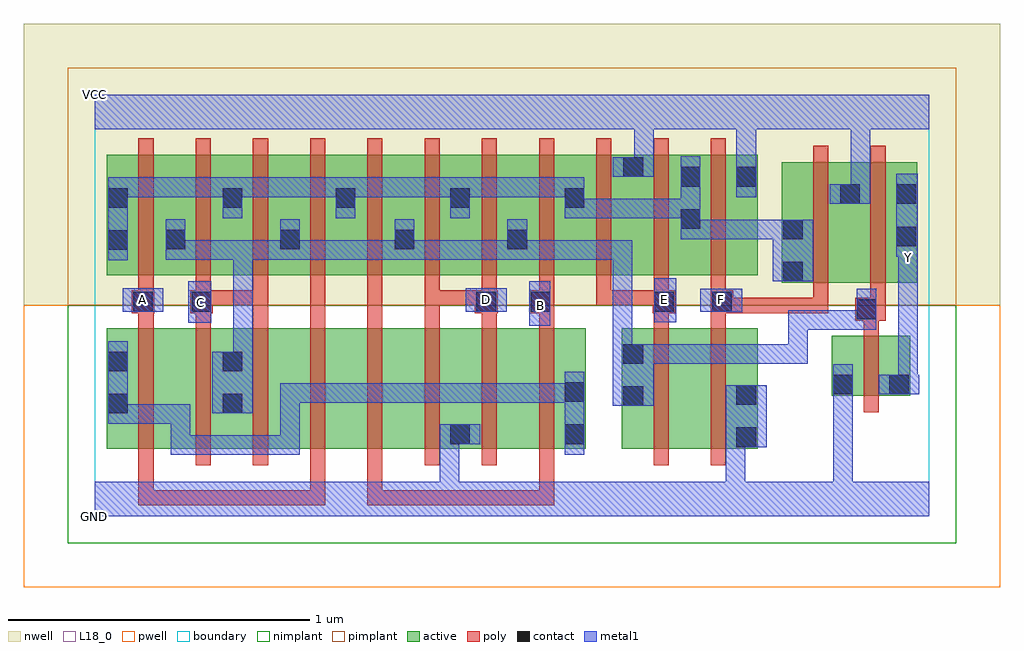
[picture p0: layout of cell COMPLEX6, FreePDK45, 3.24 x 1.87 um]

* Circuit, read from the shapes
.subckt COMPLEX6 A B C D E F GND VCC Y
M1 n1 A n2 VSUBS nfet w=0.4u l=0.05u
M2 n3 C n1 VSUBS nfet w=0.4u l=0.05u
M3 n4 C n3 VSUBS nfet w=0.4u l=0.05u
M4 n5 A n4 VSUBS nfet w=0.4u l=0.05u
M5 n6 B n5 VSUBS nfet w=0.4u l=0.05u
M6 GND D n6 VSUBS nfet w=0.4u l=0.05u
M7 n7 D GND VSUBS nfet w=0.4u l=0.05u
M8 n2 B n7 VSUBS nfet w=0.4u l=0.05u
M9 n8 E n3 VSUBS nfet w=0.4u l=0.05u
M10 GND F n8 VSUBS nfet w=0.4u l=0.05u
M11 Y n3 GND VSUBS nfet w=0.2u l=0.05u
M12 n3 A n9 n10 pfet w=0.4u l=0.05u m=2
M13 n9 C n3 n10 pfet w=0.4u l=0.05u m=2
M14 n3 B n9 n10 pfet w=0.4u l=0.05u m=2
M15 n9 D n3 n10 pfet w=0.4u l=0.05u m=2
M16 VCC E n9 n10 pfet w=0.4u l=0.05u m=2
M17 VCC F n9 n10 pfet w=0.4u l=0.05u m=2
M18 Y n3 VCC n10 pfet w=0.4u l=0.05u
.ends

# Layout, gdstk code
import gdstk
lib = gdstk.Library(unit=1e-6, precision=1e-09)
def R(c, l, rs):  # rectangles x0, y0, x1, y1
    for r in rs: c.add(gdstk.rectangle(r[:2], r[2:], *l))
def A(c, l, x, y, w, h, nx, ny, dx, dy):  # array of equal rectangles
    R(c, l, [(x+i*dx, y+j*dy, x+i*dx+w, y+j*dy+h) for i in range(nx) for j in range(ny)])
active = (1, 0)
pwell = (2, 0)
nwell = (3, 0)
nimplant = (4, 0)
pimplant = (5, 0)
poly = (9, 0)
contact = (10, 0)
metal1 = (11, 0)
L18_0 = (18, 0)
boundary = (235, 0)

complex6 = lib.new_cell('COMPLEX6')
A(complex6, active, 0.04, 0.8, 0.265, 0.4, 3, 1, 0.19, 0)
A(complex6, active, 0.23, 0.8, 0.075, 0.27, 3, 1, 0.38, 0)
R(complex6, active, [(0.04,0.225,0.265,0.625), (0.265,0.225,0.495,0.625), (0.42,0.225,0.645,0.625), (0.645,0.225,0.835,0.625), (0.835,0.225,1.025,0.625), (1.025,0.225,1.25,0.625), (1.175,0.225,1.405,0.625), (1.175,0.225,1.25,0.617), (1.405,0.225,1.63,0.625), (1.555,0.225,1.63,0.625), (1.75,0.225,1.975,0.625), (1.975,0.225,2.2,0.625), (2.125,0.225,2.2,0.625), (0.04,0.245,0.115,0.625), (0.42,0.245,0.495,0.617), (1.75,0.245,1.825,0.625), (2.447,0.4,2.522,0.6), (2.447,0.4,2.707,0.6), (2.632,0.4,2.707,0.6), (2.28,0.775,2.355,1.155), (2.28,0.775,2.545,1.175), (2.47,0.775,2.545,1.175), (2.47,0.775,2.73,1.175), (2.655,0.775,2.73,1.155), (0.04,0.8,0.115,1.192), (0.61,0.8,0.87,1.2), (0.795,0.8,0.87,1.192), (0.795,0.8,1.065,1.2), (0.99,0.8,1.25,1.2), (1.175,0.8,1.44,1.2), (1.365,0.8,1.63,1.2), (1.365,0.8,1.44,1.07), (1.555,0.8,1.825,1.2), (1.75,0.8,2.015,1.2), (1.94,0.8,2.015,1.2), (1.94,0.8,2.2,1.2), (2.125,0.8,2.2,1.2), (1.555,0.847,1.63,1.192), (1.75,0.887,1.825,1.2), (0.42,0.907,0.495,1.192), (1.175,0.907,1.25,1.2)])
R(complex6, pwell, [(-0.235,-0.235,3.005,0.7)])
R(complex6, nwell, [(-0.235,0.7,3.005,1.635)])
R(complex6, nimplant, [(-0.09,-0.09,2.86,0.7)])
R(complex6, pimplant, [(-0.09,0.7,2.86,1.49)])
A(complex6, poly, 0.145, 0.17, 0.05, 0.51, 8, 1, 0.19, 0)
A(complex6, poly, 0.145, 0.7, 0.05, 0.095, 3, 1, 0.19, 0)
A(complex6, poly, 0.905, 0.7, 0.05, 0.095, 7, 1, 0.19, 0)
A(complex6, poly, 0.145, 0.745, 0.05, 0.51, 11, 1, 0.19, 0)
R(complex6, poly, [(0.145,0.037,0.195,0.087), (0.145,0.037,0.195,0.087), (0.145,0.037,0.195,0.087), (0.145,0.037,0.195,0.22), (0.145,0.037,0.327,0.087), (0.277,0.037,0.327,0.087), (0.277,0.037,0.525,0.087), (0.475,0.037,0.525,0.087), (0.475,0.037,0.525,0.087), (0.475,0.037,0.525,0.087), (0.475,0.037,0.765,0.087), (0.715,0.037,0.765,0.087), (0.715,0.037,0.765,0.087), (0.715,0.037,0.765,0.087), (0.715,0.037,0.765,0.22), (0.905,0.037,0.955,0.087), (0.905,0.037,0.955,0.087), (0.905,0.037,0.955,0.087), (0.905,0.037,0.955,0.22), (0.905,0.037,1.18,0.087), (1.13,0.037,1.18,0.087), (1.13,0.037,1.312,0.087), (1.262,0.037,1.312,0.087), (1.262,0.037,1.312,0.087), (1.262,0.037,1.312,0.087), (1.262,0.037,1.525,0.087), (1.475,0.037,1.525,0.087), (1.475,0.037,1.525,0.087), (1.475,0.037,1.525,0.087), (1.475,0.037,1.525,0.22), (1.855,0.17,1.905,0.68), (2.045,0.17,2.095,0.68), (2.552,0.345,2.602,0.655), (2.552,0.605,2.602,0.7), (0.145,0.63,0.195,0.725), (0.335,0.63,0.385,0.725), (0.525,0.63,0.575,0.75), (0.715,0.63,0.765,0.725), (0.905,0.63,0.955,0.75), (1.095,0.63,1.145,0.75), (1.285,0.63,1.335,0.725), (1.475,0.63,1.525,0.725), (1.855,0.63,1.905,0.725), (2.045,0.63,2.095,0.725), (2.525,0.65,2.625,0.725), (0.122,0.675,0.197,0.75), (0.317,0.675,0.392,0.75), (0.715,0.675,0.765,0.725), (0.715,0.675,0.765,0.795), (1.262,0.675,1.337,0.75), (1.442,0.675,1.525,0.75), (1.852,0.675,1.927,0.75), (2.045,0.675,2.12,0.75), (2.07,0.675,2.12,0.725), (2.07,0.675,2.12,0.725), (2.07,0.675,2.435,0.725), (2.385,0.675,2.435,0.77), (2.385,0.675,2.435,0.725), (2.385,0.675,2.435,0.725), (2.385,0.675,2.435,0.725), (2.575,0.675,2.625,0.77), (0.342,0.7,0.392,0.75), (0.342,0.7,0.392,0.75), (0.342,0.7,0.575,0.75), (0.525,0.7,0.575,0.75), (0.905,0.7,0.955,0.75), (1.095,0.7,1.145,0.75), (1.095,0.7,1.145,0.75), (1.095,0.7,1.145,0.75), (1.095,0.7,1.312,0.75), (1.665,0.7,1.715,0.75), (1.665,0.7,1.715,0.75), (1.665,0.7,1.715,0.75), (1.665,0.7,1.902,0.75), (2.385,0.72,2.435,1.23), (2.575,0.72,2.625,1.23)])
A(complex6, contact, 0.235, 0.887, 0.065, 0.065, 3, 1, 0.38, 0)
A(complex6, contact, 0.8, 1.025, 0.065, 0.065, 3, 1, 0.38, 0)
R(complex6, contact, [(2.13,0.23,2.195,0.295), (1.18,0.24,1.245,0.305), (1.56,0.24,1.625,0.305), (0.045,0.342,0.11,0.407), (0.425,0.342,0.49,0.407), (1.755,0.367,1.82,0.432), (2.13,0.37,2.195,0.435), (1.56,0.38,1.625,0.445), (2.452,0.405,2.517,0.47), (2.637,0.405,2.702,0.47), (0.045,0.482,0.11,0.547), (0.425,0.482,0.49,0.547), (1.755,0.507,1.82,0.572), (2.53,0.655,2.595,0.72), (0.127,0.68,0.192,0.745), (0.322,0.68,0.387,0.745), (1.267,0.68,1.332,0.745), (1.447,0.68,1.512,0.745), (1.857,0.68,1.922,0.745), (2.05,0.68,2.115,0.745), (2.285,0.78,2.35,0.845), (0.045,0.885,0.11,0.95), (1.37,0.887,1.435,0.952), (2.66,0.897,2.725,0.962), (2.285,0.92,2.35,0.985), (1.945,0.955,2.01,1.02), (0.045,1.025,0.11,1.09), (0.425,1.025,0.49,1.09), (2.475,1.037,2.54,1.102), (2.66,1.037,2.725,1.102), (1.945,1.095,2.01,1.16), (2.13,1.095,2.195,1.16), (1.755,1.127,1.82,1.192)])
A(complex6, metal1, 0.235, 0.852, 0.065, 0.135, 3, 1, 0.38, 0)
A(complex6, metal1, 0.8, 0.99, 0.065, 0.135, 3, 1, 0.38, 0)
R(complex6, metal1, [(0,0,2.77,0.115), (1.145,0.05,1.21,0.305), (2.095,0.05,2.16,0.115), (2.095,0.05,2.16,0.115), (2.095,0.05,2.16,0.295), (2.452,0.05,2.517,0.435), (0.252,0.205,0.317,0.27), (0.252,0.205,0.317,0.27), (0.252,0.205,0.317,0.27), (0.252,0.205,0.525,0.27), (0.252,0.205,0.317,0.372), (0.46,0.205,0.525,0.27), (0.46,0.205,0.525,0.27), (0.46,0.205,0.525,0.27), (0.46,0.205,0.68,0.27), (0.615,0.205,0.68,0.27), (0.615,0.205,0.68,0.442), (1.56,0.205,1.625,0.48), (2.095,0.23,2.23,0.435), (1.145,0.24,1.21,0.305), (1.145,0.24,1.21,0.305), (1.145,0.24,1.28,0.305), (0.045,0.307,0.11,0.372), (0.045,0.307,0.11,0.372), (0.045,0.307,0.11,0.582), (0.045,0.307,0.317,0.372), (0.252,0.307,0.317,0.372), (0.39,0.342,0.525,0.547), (1.72,0.367,1.855,0.572), (2.452,0.37,2.517,0.435), (2.452,0.37,2.517,0.435), (2.452,0.37,2.517,0.435), (2.452,0.37,2.517,0.435), (2.452,0.37,2.517,0.435), (2.452,0.37,2.517,0.435), (2.452,0.37,2.517,0.505), (0.615,0.377,0.68,0.442), (0.615,0.377,0.68,0.442), (0.615,0.377,0.68,0.442), (0.615,0.377,0.817,0.442), (0.752,0.377,0.817,0.442), (0.752,0.377,0.817,0.442), (0.752,0.377,0.817,0.442), (0.752,0.377,1.072,0.442), (1.007,0.377,1.072,0.442), (1.007,0.377,1.072,0.442), (1.007,0.377,1.072,0.442), (1.007,0.377,1.245,0.442), (1.18,0.377,1.245,0.442), (1.18,0.377,1.245,0.442), (1.18,0.377,1.245,0.442), (1.18,0.377,1.487,0.442), (1.422,0.377,1.487,0.442), (1.422,0.377,1.487,0.442), (1.422,0.377,1.487,0.442), (1.422,0.377,1.625,0.442), (2.602,0.405,2.737,0.47), (2.667,0.405,2.732,0.857), (0.46,0.482,0.525,0.547), (0.46,0.482,0.525,0.547), (0.46,0.482,0.525,0.917), (1.72,0.507,1.785,0.917), (1.79,0.507,1.855,0.572), (1.79,0.507,1.855,0.572), (1.79,0.507,1.992,0.572), (1.927,0.507,1.992,0.572), (1.927,0.507,2.147,0.572), (2.082,0.507,2.147,0.572), (2.082,0.507,2.147,0.572), (2.082,0.507,2.147,0.572), (2.082,0.507,2.367,0.572), (2.302,0.507,2.367,0.572), (2.302,0.507,2.367,0.685), (2.302,0.62,2.367,0.685), (2.302,0.62,2.367,0.685), (2.302,0.62,2.367,0.685), (2.302,0.62,2.53,0.685), (2.465,0.62,2.53,0.685), (2.465,0.62,2.595,0.685), (2.53,0.62,2.595,0.755), (1.442,0.632,1.512,0.78), (0.31,0.642,0.387,0.78), (1.857,0.645,1.93,0.79), (0.092,0.68,0.227,0.757), (1.232,0.68,1.367,0.757), (2.01,0.68,2.15,0.755), (2.25,0.78,2.385,0.985), (2.667,0.792,2.732,0.927), (0.045,0.85,0.11,1.125), (0.235,0.852,0.3,0.917), (0.235,0.852,0.3,0.917), (0.235,0.852,0.525,0.917), (0.46,0.852,0.525,0.917), (0.46,0.852,0.525,0.917), (0.46,0.852,0.525,0.917), (0.46,0.852,0.68,0.917), (0.615,0.852,0.68,0.917), (0.615,0.852,0.68,0.917), (0.615,0.852,0.922,0.917), (0.857,0.852,0.922,0.917), (0.857,0.852,0.922,0.917), (0.857,0.852,0.922,0.917), (0.857,0.852,1.06,0.917), (0.995,0.852,1.06,0.917), (0.995,0.852,1.06,0.917), (0.995,0.852,1.215,0.917), (1.15,0.852,1.215,0.917), (1.15,0.852,1.215,0.917), (1.15,0.852,1.215,0.917), (1.15,0.852,1.435,0.917), (1.37,0.852,1.435,0.917), (1.37,0.852,1.435,0.917), (1.37,0.852,1.435,0.987), (1.37,0.852,1.647,0.917), (1.582,0.852,1.647,0.917), (1.582,0.852,1.647,0.917), (1.582,0.852,1.647,0.917), (1.582,0.852,1.65,0.917), (1.585,0.852,1.65,0.917), (1.585,0.852,1.785,0.917), (1.72,0.852,1.785,0.917), (2.66,0.862,2.732,1.137), (2.667,0.862,2.732,0.927), (1.945,0.92,2.157,0.985), (1.945,0.92,2.01,1.195), (2.092,0.92,2.157,0.985), (2.092,0.92,2.157,0.985), (2.092,0.92,2.157,0.985), (2.092,0.92,2.315,0.985), (0.425,0.99,0.49,1.125), (1.56,0.99,1.65,1.055), (1.585,0.99,1.65,1.055), (1.585,0.99,1.787,1.055), (1.722,0.99,1.787,1.055), (1.722,0.99,1.787,1.055), (1.722,0.99,1.787,1.055), (1.722,0.99,1.787,1.055), (1.722,0.99,1.787,1.055), (1.722,0.99,2.01,1.055), (2.44,1.037,2.575,1.102), (2.51,1.037,2.575,1.35), (0.045,1.06,0.11,1.125), (0.045,1.06,0.11,1.125), (0.045,1.06,0.317,1.125), (0.252,1.06,0.317,1.125), (0.252,1.06,0.317,1.125), (0.252,1.06,0.317,1.125), (0.252,1.06,0.49,1.125), (0.425,1.06,0.542,1.125), (0.477,1.06,0.542,1.125), (0.477,1.06,0.68,1.125), (0.615,1.06,0.68,1.125), (0.615,1.06,0.68,1.125), (0.615,1.06,0.68,1.125), (0.615,1.06,0.865,1.125), (0.8,1.06,0.865,1.125), (0.8,1.06,0.865,1.125), (0.8,1.06,1.072,1.125), (1.007,1.06,1.072,1.125), (1.007,1.06,1.072,1.125), (1.007,1.06,1.072,1.125), (1.007,1.06,1.245,1.125), (1.18,1.06,1.245,1.125), (1.18,1.06,1.245,1.125), (1.18,1.06,1.382,1.125), (1.317,1.06,1.382,1.125), (1.317,1.06,1.382,1.125), (1.317,1.06,1.382,1.125), (1.317,1.06,1.625,1.125), (2.13,1.06,2.195,1.195), (1.72,1.127,1.855,1.192), (1.79,1.127,1.855,1.35), (2.13,1.13,2.195,1.35), (0,1.285,2.77,1.4)])
R(complex6, L18_0, [(0,0,2.77,0.115), (1.145,0.05,1.21,0.305), (2.095,0.05,2.16,0.115), (2.095,0.05,2.16,0.115), (2.095,0.05,2.16,0.295), (2.452,0.05,2.517,0.435), (2.095,0.23,2.23,0.435), (1.145,0.24,1.21,0.305), (1.145,0.24,1.21,0.305), (1.145,0.24,1.28,0.305), (2.452,0.37,2.517,0.435), (2.452,0.37,2.517,0.435), (2.452,0.37,2.517,0.435), (2.452,0.37,2.517,0.435), (2.452,0.37,2.517,0.435), (2.452,0.37,2.517,0.435), (2.452,0.37,2.517,0.505), (2.602,0.405,2.737,0.47), (2.667,0.405,2.732,0.857), (1.442,0.632,1.512,0.78), (0.31,0.642,0.387,0.78), (1.857,0.645,1.93,0.79), (1.447,0.667,1.512,0.732), (0.317,0.677,0.382,0.742), (0.092,0.68,0.227,0.757), (1.232,0.68,1.367,0.757), (2.01,0.68,2.15,0.755), (0.127,0.687,0.192,0.752), (1.267,0.687,1.332,0.752), (1.857,0.687,1.922,0.752), (2.047,0.687,2.112,0.752), (2.667,0.792,2.732,0.927), (2.667,0.827,2.732,0.892), (2.66,0.862,2.732,1.137), (2.667,0.862,2.732,0.927), (2.44,1.037,2.575,1.102), (2.51,1.037,2.575,1.35), (2.13,1.06,2.195,1.195), (1.72,1.127,1.855,1.192), (1.79,1.127,1.855,1.35), (2.13,1.13,2.195,1.35), (0,1.285,2.77,1.4)])
R(complex6, boundary, [(0,0,2.77,1.4)])
complex6.add(gdstk.Label('A', (0.16,0.72), layer=11, texttype=0))
complex6.add(gdstk.Label('B', (1.48,0.7), layer=11, texttype=0))
complex6.add(gdstk.Label('C', (0.35,0.71), layer=11, texttype=0))
complex6.add(gdstk.Label('D', (1.3,0.72), layer=11, texttype=0))
complex6.add(gdstk.Label('E', (1.89,0.72), layer=11, texttype=0))
complex6.add(gdstk.Label('F', (2.08,0.72), layer=11, texttype=0))
complex6.add(gdstk.Label('Y', (2.7,0.86), layer=11, texttype=0))
complex6.add(gdstk.Label('VCC', (0,1.4), layer=11, texttype=0))
complex6.add(gdstk.Label('GND', (0,0), layer=11, texttype=0))

lib.write_gds('COMPLEX6.gds')
